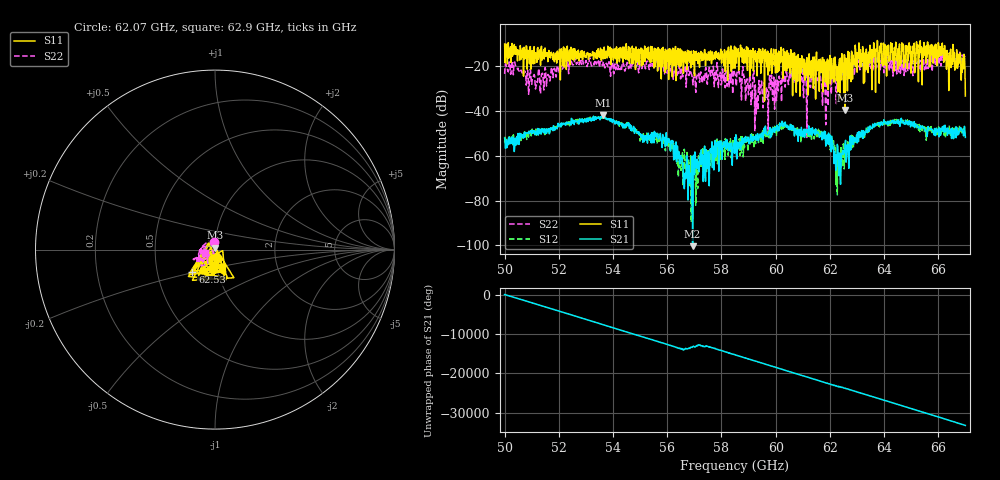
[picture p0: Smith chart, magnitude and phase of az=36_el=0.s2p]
!Created with skrf (http://scikit-rf.org).
# GHz S RI R 50.0
!freq ReS11 ImS11 ReS21 ImS21 ReS12 ImS12 ReS22 ImS22
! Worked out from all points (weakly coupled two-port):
!   1001 points, 50 GHz to 67 GHz, reference 50 ohm
!   highest |S21| = -42.05 dB at 53.62 GHz (marker M1); lowest = -100.3 dB at 56.94 GHz (marker M2)
!   lowest |S11| = -39.6 dB at 62.56 GHz (marker M3), VSWR 1.02, Z = 50.2 + j1.02 ohm
!   |S11| at or under -10 dB: 50.27 GHz to 63.07 GHz (12.8 GHz wide, 22.6 % of centre); 63.07 GHz to 63.62 GHz (541.4 MHz wide, 0.855 % of centre); 66.15 GHz to end of sweep (the widest 3 of 19)
!   |S22| runs from -51.9 to -13.9 dB; largest |S21 - S12| = 0.002
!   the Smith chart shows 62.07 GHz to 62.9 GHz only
!   S11 on the Smith chart (normalised r, x): 62.07 GHz: 1.02, -0.10; 62.53 GHz: 0.75, -0.20; 62.9 GHz: 1.06, -0.21
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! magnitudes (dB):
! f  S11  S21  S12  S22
! 50 GHz  -10.3  -52.2  -54.0  -23.6
! 51.38 GHz  -17.5  -48.0  -47.3  -23.5
! 52.84 GHz  -14.4  -44.9  -45.1  -19.3
! 53.62 GHz  -15.5  -42.0  -42.5  -19.7
! 55.68 GHz  -13.8  -52.6  -52.2  -22.0
! 56.68 GHz  -18.8  -70.3  -70.5  -23.2
! 56.94 GHz  -15.0  -100.3  -82.2  -26.6
! 58.01 GHz  -18.7  -54.0  -53.4  -27.8
! 58.5 GHz  -21.1  -51.9  -56.5  -23.8
! 59.13 GHz  -16.0  -53.5  -54.0  -34.7
! 59.32 GHz  -24.4  -52.4  -52.9  -36.6
! 60.64 GHz  -14.4  -46.8  -48.2  -21.5
! 61.34 GHz  -24.0  -50.9  -50.1  -23.8
! 62.07 GHz  -25.8  -51.3  -55.0  -27.0
! 62.31 GHz  -20.6  -60.6  -63.8  -22.4
! 62.53 GHz  -15.0  -57.9  -65.9  -19.2
! 62.56 GHz  -39.6  -54.6  -55.5  -18.7
! 62.9 GHz  -19.5  -53.3  -53.0  -24.2
! 64.18 GHz  -17.9  -44.8  -44.7  -18.7
! 66.08 GHz  -15.1  -50.9  -48.3  -16.0
! 66.9 GHz  -16.5  -49.7  -48.1  -15.5
! 67 GHz  -33.4  -51.8  -49.7  -15.6
